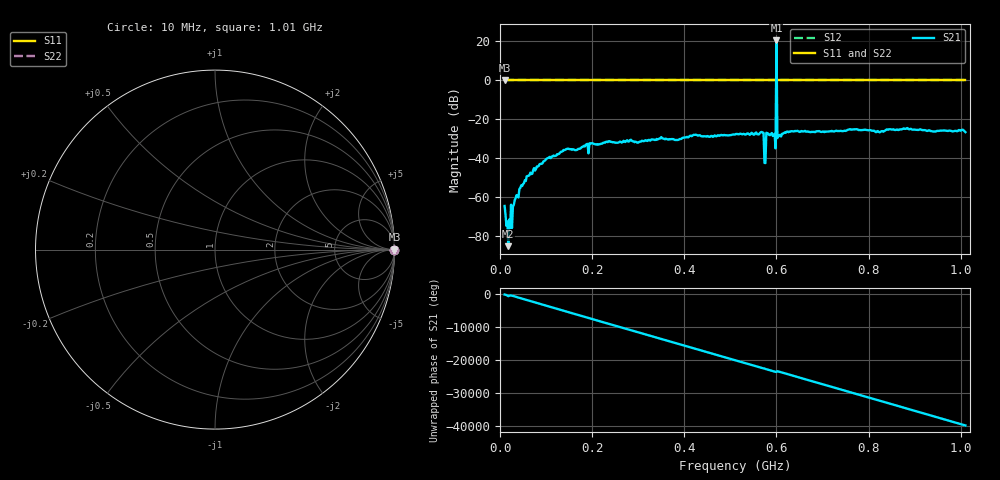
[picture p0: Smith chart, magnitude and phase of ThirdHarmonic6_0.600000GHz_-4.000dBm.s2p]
! 8/15/2025 7:33:42 PM
! C:\ANRITSUVNA\TEMP\TEMP.S2P
! CHANNEL.1
! TR.MEASUREMENT
! RAW.DATA
! RF.CORRECTION.OFF
! AVERAGING.OFF
! IF.BANDWIDTH: 5KHZ
! SWEEPTYPE:  FREQ.SWEEP(Linear)
! Reference Plane Port Info
! PORT:  PORT1  PORT2
! DISTANCE:  0  m  0  m
! TIME:  0  s  0  s
! PHASE.OFFSET:  0  deg.  0  deg.
! LOSS:  0  dB  0  dB
! REF.LOSS:  0  dB  0  dB
! REF.FREQ:  0  Hz  0  Hz
! Power Info
! POWER:  -20  dBm  -20  dBm
! EFF.POWER:  -20  dBm  -20  dBm
! SOURCE.ATTEN:  0  dB  0  dB
! TEST.ATTEN:  0  dB  0  dB
# GHZ S RI R 50.0
! FREQ.GHZ  S11RE  S11IM  S21RE  S21IM  S12RE  S12IM  S22RE  S22IM
!; PortSelection: Port_12
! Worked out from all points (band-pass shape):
!   501 points, 10 MHz to 1.01 GHz, reference 50 ohm
!   highest |S21| = 20.42 dB at 600 MHz (marker M1); lowest = -85.2 dB at 18 MHz (marker M2)
!   |S21| within 3 dB of the highest: 599.8917 MHz to 600.1197 MHz (227.9 kHz wide, 0.038 % of centre)
!   lowest |S11| = 0.0 dB at 10 MHz (marker M3)
!   |S11| at or under -10 dB: nowhere
!   |S22| runs from 0.0 to 0.0 dB; largest |S21 - S12| = 11
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0.01  1 0  -0.000377 -0.000454  1 0  1 0
0.018  1 0  -1.4e-05 5.29e-05  1 0  1 0
0.022  1 0  0.000121 -0.000101  1 0  1 0
0.032  1 0  0.000828 6.29e-05  1 0  1 0
0.062  1 0  -0.00312 -0.00164  1 0  1 0
0.104  1 0  0.00565 -0.00826  1 0  1 0
0.178  1 0  -0.0189 -0.00394  1 0  1 0
0.344  1 0  0.0297 -0.00849  1 0  1 0
0.51  1 0  -0.0364 0.0174  1 0  1 0
0.568  1 0  0.0445 -0.0147  1 0  1 0
0.572  1 0  -0.0441 0.000765  1 0  1 0
0.578  1 0  0.021 -0.0394  1 0  1 0
0.582  1 0  -0.0285 0.0315  1 0  1 0
0.594  1 0  0.0366 0.0127  1 0  1 0
0.596  1 0  0.0188 -0.0375  1 0  1 0
0.6  1 0  -2.306 -10.24  1 0  1 0
0.604  1 0  0.0347 -0.0164  1 0  1 0
0.606  1 0  -0.00726 -0.036  1 0  1 0
0.626  1 0  -0.0461 0.0042  1 0  1 0
0.678  1 0  -0.0261 -0.0392  1 0  1 0
0.844  1 0  0.0433 0.0333  1 0  1 0
1.01  1 0  -0.0458 -0.00681  1 0  1 0
